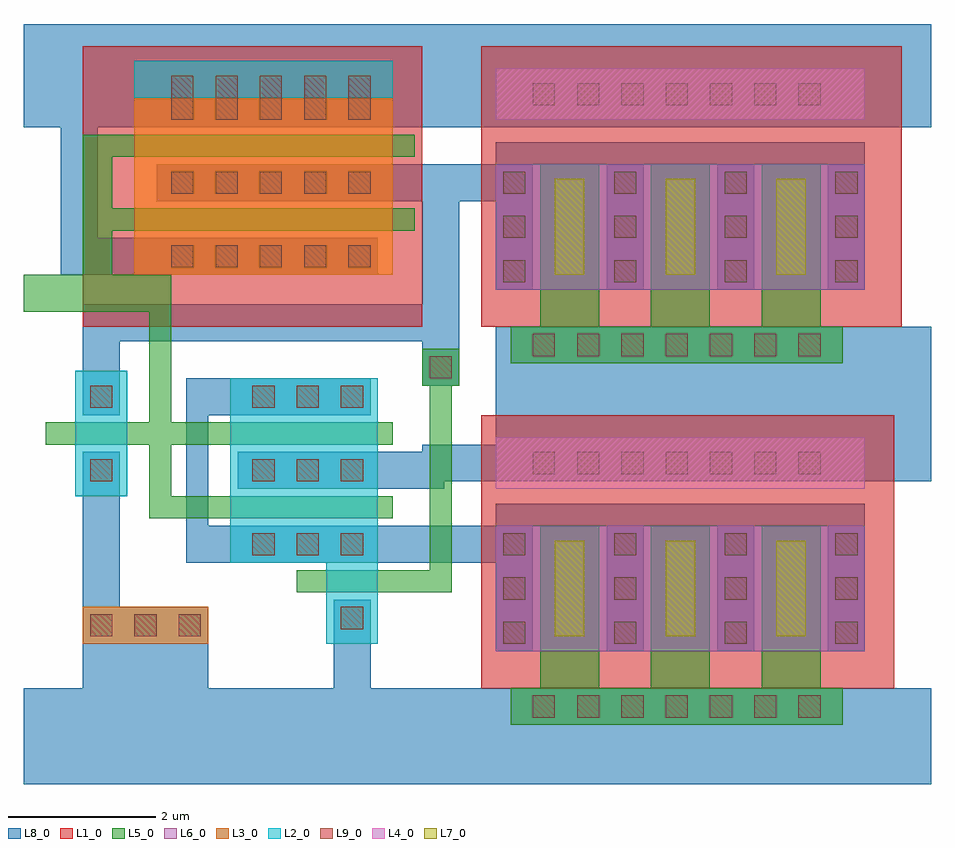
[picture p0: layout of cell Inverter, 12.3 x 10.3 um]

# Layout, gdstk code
import gdstk
lib = gdstk.Library(unit=1e-6, precision=1e-09)
def R(c, l, rs):  # rectangles x0, y0, x1, y1
    for r in rs: c.add(gdstk.rectangle(r[:2], r[2:], *l))
def A(c, l, x, y, w, h, nx, ny, dx, dy):  # array of equal rectangles
    R(c, l, [(x+i*dx, y+j*dy, x+i*dx+w, y+j*dy+h) for i in range(nx) for j in range(ny)])
L1_0 = (1, 0)
L2_0 = (2, 0)
L3_0 = (3, 0)
L4_0 = (4, 0)
L5_0 = (5, 0)
L6_0 = (6, 0)
L7_0 = (7, 0)
L8_0 = (8, 0)
L9_0 = (9, 0)

inverter = lib.new_cell('Inverter')
R(inverter, L1_0, [(6.2,1.3,11.8,5), (0.8,6.2,5.4,10), (6.2,6.2,11.9,10)])
R(inverter, L2_0, [(4.1,1.9,4.8,3), (2.8,3,4.8,5.5), (0.7,3.9,1.4,5.6), (1.5,9.3,5,9.8)])
R(inverter, L3_0, [(0.8,1.9,2.5,2.4), (1.5,6.9,5,9.3)])
R(inverter, L4_0, [(6.4,4,11.4,4.7), (6.4,9,11.4,9.7)])
A(inverter, L5_0, 7, 0.8, 0.8, 2.7, 3, 2, 1.5, 4.9)
R(inverter, L5_0, [(6.6,0.8,11.1,1.3), (3.7,2.6,5.5,2.9), (5.5,2.6,5.8,5.8), (1.7,3.6,5,3.9), (1.7,3.6,2,6.4), (0.3,4.6,5,4.9), (5.4,5.4,5.9,5.9), (6.6,5.7,11.1,6.2), (0,6.4,2,6.9), (0.8,6.9,1.2,8.8), (0.8,7.5,5.3,7.8), (0.8,8.5,5.3,8.8)])
R(inverter, L6_0, [(6.4,1.8,11.4,3.5), (6.4,6.7,11.4,8.4)])
A(inverter, L7_0, 7.2, 2, 0.4, 1.3, 3, 2, 1.5, 4.9)
A(inverter, L8_0, 6.4, 1.8, 0.5, 1.7, 4, 2, 1.5, 4.9)
R(inverter, L8_0, [(0,0,12.3,1.3), (0.8,1.3,2.5,2.4), (4.2,1.3,4.7,2.5), (0.8,2.4,1.3,4.5), (2.2,3,6.4,3.5), (2.2,3,2.5,5.5), (6.4,3.5,11.4,3.8), (2.9,4,5.7,4.5), (5.4,4.1,11.4,4.6), (6.4,4.1,12.3,6.2), (0.8,5,1.3,6.5), (2.2,5,4.7,5.5), (5.4,5.4,5.9,7.9), (0.8,6,5.9,6.5), (0.5,6.9,1,8.9), (1,6.9,4.8,7.4), (1.8,7.9,6.4,8.4), (6.4,8.4,11.4,8.7), (0,8.9,12.3,10.3)])
A(inverter, L9_0, 6.9, 0.9, 0.3, 0.3, 7, 2, 0.6, 3.3)
A(inverter, L9_0, 6.5, 1.9, 0.3, 0.3, 4, 3, 1.5, 0.6)
A(inverter, L9_0, 0.9, 2, 0.3, 0.3, 3, 1, 0.6, 0)
A(inverter, L9_0, 3.1, 3.1, 0.3, 0.3, 3, 3, 0.6, 1)
A(inverter, L9_0, 6.9, 5.8, 0.3, 0.3, 7, 2, 0.6, 3.4)
A(inverter, L9_0, 6.5, 6.8, 0.3, 0.3, 4, 3, 1.5, 0.6)
A(inverter, L9_0, 2, 7, 0.3, 0.3, 5, 2, 0.6, 1)
A(inverter, L9_0, 2, 9, 0.3, 0.6, 5, 1, 0.6, 0)
R(inverter, L9_0, [(4.3,2.1,4.6,2.4), (0.9,4.1,1.2,4.4), (0.9,5.1,1.2,5.4), (5.5,5.5,5.8,5.8)])

lib.write_gds('Inverter.gds')
